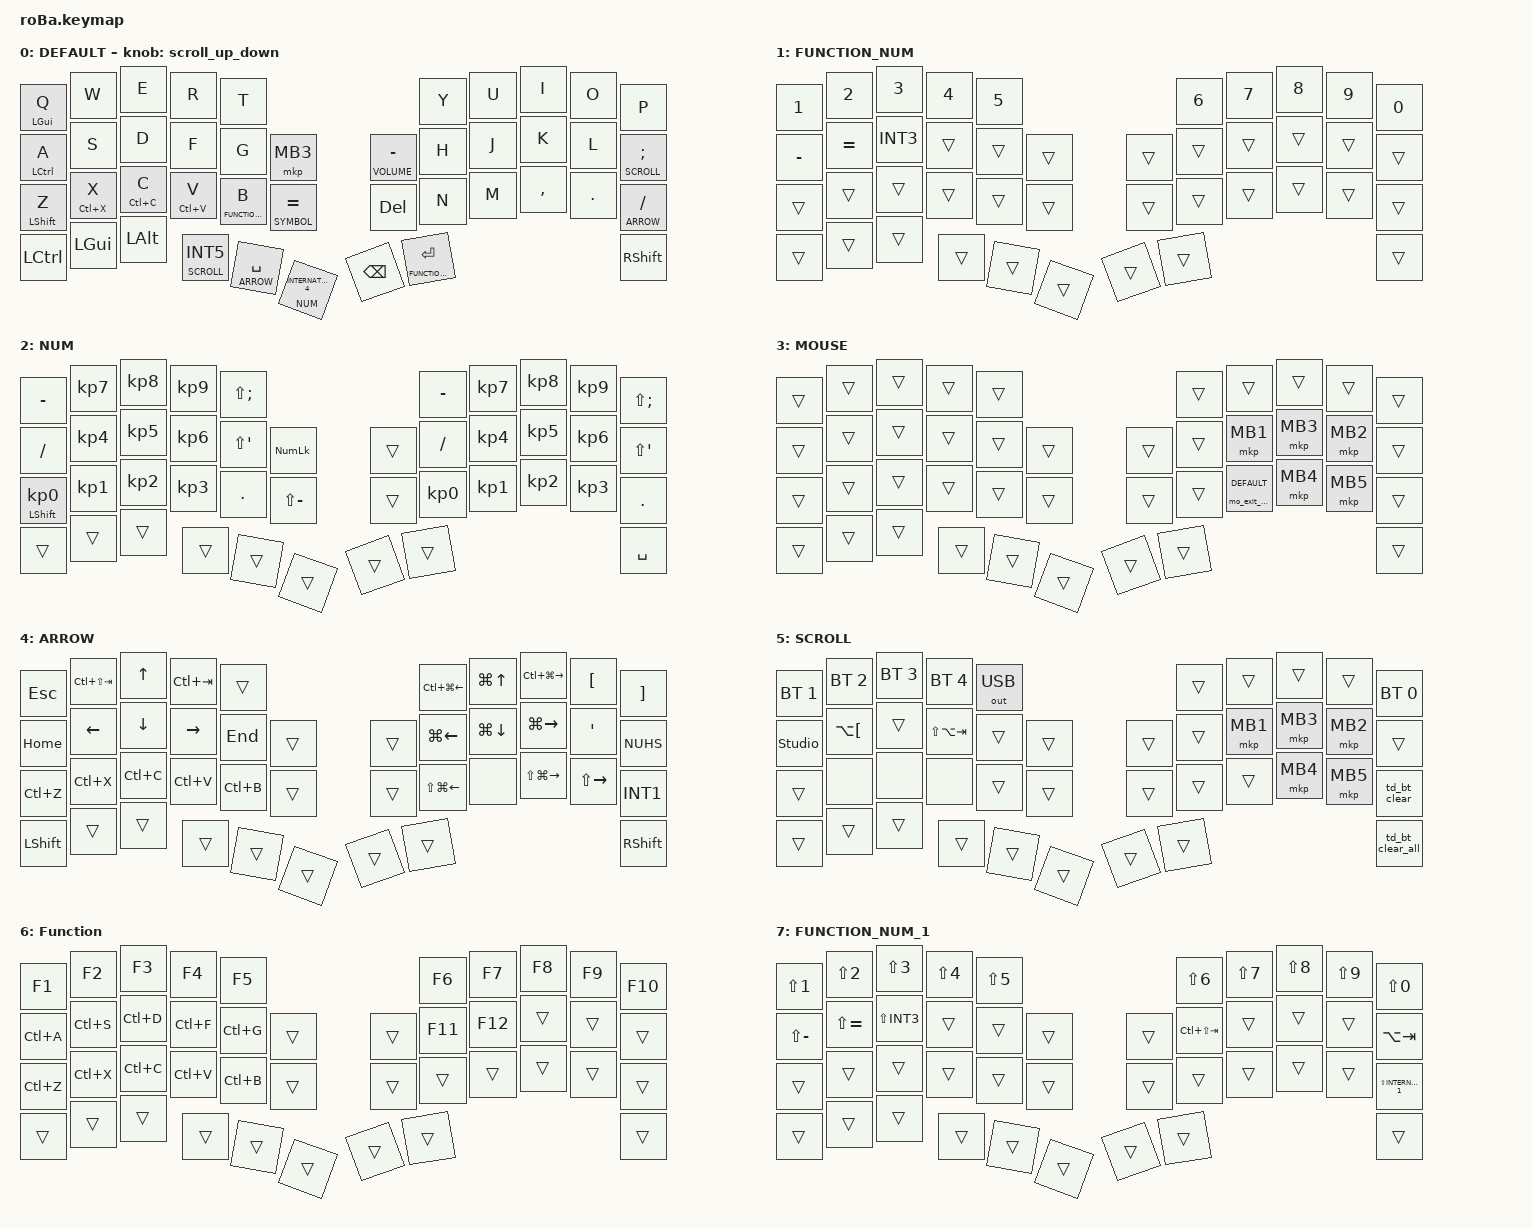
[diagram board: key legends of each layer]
#define ZMK_POINTING_DEFAULT_SCRL_VAL 100
//#define ZMK_POINTING_DEFAULT_MOVE_VAL 700

#include <input/processors.dtsi>
#include <dt-bindings/zmk/input_transform.h>
#include <zephyr/dt-bindings/input/input-event-codes.h>
#include <input/processors/report_rate_limit.dtsi>
#include <mouse-gesture.dtsi>
#include <scroll-snap.dtsi>
#include <dt-bindings/zmk/trackball_gestures.h>
#include <behaviors/gesture.dtsi>
#include <behaviors/runtime_macro.dtsi>
#include <behaviors/runtime-input-processor.dtsi>
#include <behaviors.dtsi>
#include <dt-bindings/zmk/bt.h>
#include <dt-bindings/zmk/keys.h>
#include <dt-bindings/zmk/outputs.h>
#include <dt-bindings/zmk/pointing.h>

// =========================================================
// Layer indices (keymap 内の並び順と一致させること)
// 注意: これらは cpp マクロなので、ノード名には同名を使わない
//       (数字に置換されてしまう)。ノード名は小文字 + display-name。
// =========================================================
#define DEFAULT      0  // home_layer
#define FUNCTION_NUM 1  // 数字 1-0 / trackball: ctrl-tab
#define NUM          2  // テンキー / trackball: arrows
#define MOUSE        3  // マウスボタン (auto mouse layer)
#define ARROW        4  // 矢印・ウィンドウ操作 / trackball: arrows
#define SCROLL       5  // BT 切替・マウスボタン / trackball: scroll
#define VOLUME       6  // keymap 上の node 名は function (F1-F12) / trackball: volume
#define SYMBOL       7  // keymap 上の node 名は function_num_1 (Shift+数字) / trackball: alt-tab

// =========================================================
// Key positions
// =========================================================
#define POS_L_0_START 0                     // Q
#define POS_L_1_START 10                    // A
#define POS_L_2_START 22                    // Z
#define POS_L_3_START 34                    // left ctrl
#define POS_R_0_START (POS_L_0_START + 5)   // Y
#define POS_R_1_START (POS_L_1_START + 6)   // Fn
#define POS_R_2_START (POS_L_2_START + 6)   // DEL
#define POS_R_3_START (POS_L_3_START + 6)   // BACKSPACE
#define POS_L_0_END (POS_R_0_START - 1)     // T
#define POS_L_1_END (POS_R_1_START - 1)     // encoder click
#define POS_L_2_END (POS_R_2_START - 1)     // maru
#define POS_L_3_END (POS_R_3_START - 1)     // henkan
#define POS_R_0_END (POS_L_1_START - 1)     // P
#define POS_R_1_END (POS_L_2_START - 1)     // ;(lt SCROLL)
#define POS_R_2_END (POS_L_3_START - 1)     // /(lt ARROW)
#define POS_R_3_END (POS_L_3_START + 8)     // RIGHT SHIFT

// =========================================================
// Behavior tuning
// =========================================================
&mt {
    tapping-term-ms = <150>;
    quick-tap-ms = <250>;
    flavor = "balanced";
};

&lt {
    tapping-term-ms = <150>;
    quick-tap-ms = <250>;
    flavor = "balanced";
};

&sk { release-after-ms = <700>; };

&sl { release-after-ms = <1000>; };

&to { /delete-property/ locking; };

&tog { /delete-property/ locking; };

// =========================================================
// Trackball / Auto mouse layer
// =========================================================
&mkp_input_listener { input-processors = <&zip_temp_layer MOUSE 10000>; };

&trackball { cpi = <800>; };

&zip_temp_layer {
    require-prior-idle-ms = <200>;
    excluded-positions = <
        (POS_R_1_START + 2) // J
        (POS_R_1_START + 3) // K
        (POS_R_1_START + 4) // L
        (POS_R_1_START + 5) // ;
        (POS_R_2_START + 3) // ,
        (POS_R_2_START + 4) // .
        (POS_L_2_START)     // Z
    >;
};

&zip_scroll_snap {
    require-n-samples = <8>;
    immediate-snap-threshold = <750>;
    lock-duration-ms = <175>;
    lock-for-next-n-events = <8>;
    idle-reset-timeout-ms = <175>;
};

&trackball_listener {
    compatible = "zmk,input-listener";
    input-processors = <
        &zip_xy_transform (INPUT_TRANSFORM_XY_SWAP | INPUT_TRANSFORM_X_INVERT)
        &zip_report_rate_limit 15
        &mouse_runtime_input_processor
    >;

    auto-mouse-layer {
        layers = <DEFAULT>;
        input-processors = <&zip_temp_layer MOUSE 10000>;
        process-next;
    };

    mouse-layer {
        layers = <MOUSE>;
        process-next;
    };

    scroller {
        layers = <SCROLL>;
        input-processors = <
            &zip_xy_scaler 1 16
            &zip_xy_transform (INPUT_TRANSFORM_XY_SWAP | INPUT_TRANSFORM_X_INVERT | INPUT_TRANSFORM_Y_INVERT)
            &zip_xy_to_scroll_mapper
            &zip_scroll_snap
            // &scroll_runtime_input_processor
        >;

        process-next;
    };

    arrows {
        input-processors = <&zip_arrows>;
        layers = <ARROW>, <NUM>;

        process-next;
    };

    volume {
        input-processors = <&zip_volume>;
        layers = <VOLUME>;
        process-next;
    };

    ctrl_tab {
        input-processors = <&zip_ctrl_tab>;
        layers = <FUNCTION_NUM>;
        process-next;
    };

    alt_tab {
        input-processors = <&zip_alt_tab>;
        layers = <SYMBOL>;
        process-next;
    };

    prevent-mouse-move {
        layers = <NUM>, <ARROW>, <VOLUME>, <SYMBOL>, <FUNCTION_NUM>;
        input-processors = <&zip_xy_scaler 0 1>;
    };
};

/ {
    // =====================================================
    // Input processors
    // =====================================================
    input_processors {
        wheel_x_scaler: wheel_x_scaler {
            compatible = "zmk,input-processor-scaler";
            #input-processor-cells = <2>;
            type = <INPUT_EV_REL>;
            codes = <INPUT_REL_HWHEEL>;
        };

        zip_arrows: zip_arrows {
            compatible = "zmk,input-processor-keybind";
            #input-processor-cells = <0>;
            bindings = <&kp DOWN>, <&kp UP>, <&kp RIGHT>, <&kp LEFT>;
            track-remainders;
            tick = <40>;
            wait-ms = <0>;
            tap-ms = <10>;
        };

        zip_volume: zip_volume {
            compatible = "zmk,input-processor-keybind";
            #input-processor-cells = <0>;
            bindings = <&none>, <&none>, <&kp C_VOLUME_UP>, <&kp C_VOLUME_DOWN>;
            track-remainders;
            tick = <40>;
            wait-ms = <0>;
            tap-ms = <10>;
        };

        zip_alt_tab: zip_alt_tab {
            compatible = "zmk,input-processor-keybind";
            #input-processor-cells = <0>;
            bindings = <
                &kp DOWN
                &kp UP
                &alttab
                &altshifttab
            >;

            tick = <80>;
            wait-ms = <0>;
            tap-ms = <10>;
        };

        zip_ctrl_tab: zip_ctrl_tab {
            compatible = "zmk,input-processor-keybind";
            #input-processor-cells = <0>;
            bindings = <
                &none
                &none
                &ctrltab
                &ctrlshifttab
            >;

            tick = <80>;
            wait-ms = <0>;
            tap-ms = <10>;
        };
    };

    // =====================================================
    // Combos (key-positions は home_layer 基準)
    // =====================================================
    combos {
        compatible = "zmk,combos";

        tab {                       // S + D
            bindings = <&kp TAB>;
            key-positions = <11 12>;
        };

        shift_tab {                 // D + F
            bindings = <&kp LS(TAB)>;
            key-positions = <12 13>;
        };

        zenkaku {                   // A + S
            bindings = <&td_ZenkakuHankaku>;
            key-positions = <10 11>;
        };

        double_quotation {          // L + ;
            bindings = <&kp DOUBLE_QUOTES>;
            key-positions = <20 21>;
        };

        eq {                        // X + C
            bindings = <&kp LS(MINUS)>;
            key-positions = <24 25>;
        };

        shift_middle_click {        // K + L (SYMBOL layer)
            bindings = <&mkp_with_mod LEFT_SHIFT MCLK>;
            key-positions = <19 20>;
            layers = <SYMBOL>;
        };

        Escape {                    // Q + W
            bindings = <&kp ESCAPE>;
            key-positions = <0 1>;
            layers = <DEFAULT>;
            require-prior-idle-ms = <300>;
        };

        caps_word {                 // Z + /
            bindings = <&caps_word>;
            key-positions = <22 33>;
            layers = <DEFAULT>;
            require-prior-idle-ms = <300>;
        };

        dot_slash_backslash {       // / + .
            bindings = <&kp BACKSLASH>;
            key-positions = <33 32>;
            layers = <DEFAULT>;
        };

        Ctrl_A {                    // A + S
            bindings = <&kp LC(A)>;
            key-positions = <10 11>;
            layers = <DEFAULT>;
            require-prior-idle-ms = <300>;
        };

        Ctrl_Z {                    // X + Z
            bindings = <&kp LC(Z)>;
            key-positions = <23 22>;
            layers = <DEFAULT>;
            require-prior-idle-ms = <300>;
        };
    };

    // =====================================================
    // Macros
    // =====================================================
    macros {
        // --- Auto mouse layer (AML) を抜ける系 ---
        /omit-if-no-ref/
        exit_AML: exit_AML {
            compatible = "zmk,behavior-macro";
            wait-ms = <0>;
            tap-ms = <0>;
            #binding-cells = <0>;
            bindings = <&tog_off MOUSE>;
        };

        kp_exit_AML: kp_exit_AML {
            compatible = "zmk,behavior-macro-one-param";
            wait-ms = <0>;
            tap-ms = <0>;
            #binding-cells = <1>;
            bindings = <&macro_param_1to1 &kp MACRO_PLACEHOLDER &exit_AML>;
        };

        mod_exit_AML: mod_exit_AML {
            compatible = "zmk,behavior-macro-one-param";
            wait-ms = <0>;
            tap-ms = <0>;
            #binding-cells = <1>;
            bindings =
                <&macro_press>,
                <&macro_param_1to1 &kp MACRO_PLACEHOLDER>,
                <&macro_tap>,
                <&exit_AML>,
                <&macro_pause_for_release>,
                <&macro_release>,
                <&macro_param_1to1 &kp MACRO_PLACEHOLDER>;
        };

        /omit-if-no-ref/
        mkp_exit_AML: mkp_exit_AML {
            compatible = "zmk,behavior-macro-one-param";
            #binding-cells = <1>;
            bindings =
                <&macro_press>,
                <&macro_param_1to1 &mkp MACRO_PLACEHOLDER>,
                <&macro_pause_for_release>,
                <&macro_release>,
                <&macro_param_1to1 &mkp MACRO_PLACEHOLDER>,
                <&macro_tap>,
                <&sl SYMBOL>;
        };

        /omit-if-no-ref/
        mo_exit_AML: mo_exit_AML {
            compatible = "zmk,behavior-macro-one-param";
            wait-ms = <0>;
            tap-ms = <0>;
            #binding-cells = <1>;
            bindings =
                <&macro_press>,
                <&macro_param_1to1 &mo MACRO_PLACEHOLDER>,
                <&macro_tap>,
                <&exit_AML>,
                <&macro_pause_for_release>,
                <&macro_release>,
                <&macro_param_1to1 &mo MACRO_PLACEHOLDER>,
                <&macro_tap>;
        };

        // --- alt-tab / ctrl-tab ---
        /omit-if-no-ref/
        alttab: alttab {
            compatible = "zmk,behavior-smart-toggle";
            #binding-cells = <0>;
            bindings = <&mokp SYMBOL LALT>, <&kp TAB>;

            ignored-key-positions = <
                (POS_L_1_START)
                (POS_R_1_END)

                (POS_L_1_START + 2)
                (POS_L_2_START + 1)
                (POS_L_2_START + 2)
                (POS_L_2_START + 3)

                (POS_R_1_START + 3)
                (POS_R_2_START + 2)
                (POS_R_2_START + 3)
                (POS_R_2_START + 4)
            >;
        };

        altshifttab: altshifttab {
            compatible = "zmk,behavior-smart-toggle";
            #binding-cells = <0>;
            bindings = <&mokp SYMBOL LALT>, <&kp LS(TAB)>;
        };

        /omit-if-no-ref/
        ctrltab: ctrltab {
            compatible = "zmk,behavior-smart-toggle";
            #binding-cells = <0>;
            bindings = <&mokp  FUNCTION_NUM LCTRL>, <&kp TAB>;

            ignored-key-positions = <
                (POS_L_0_START)
                (POS_L_2_START)
                (POS_R_0_END)
                (POS_R_2_END)

                (POS_L_1_START + 2)
                (POS_L_2_START + 1)
                (POS_L_2_START + 2)
                (POS_L_2_START + 3)

                (POS_R_1_START + 3)
                (POS_R_2_START + 2)
                (POS_R_2_START + 3)
                (POS_R_2_START + 4)
            >;
        };

        ctrlshifttab: ctrlshifttab {
            compatible = "zmk,behavior-smart-toggle";
            #binding-cells = <0>;
            bindings = <&mokp  FUNCTION_NUM LCTRL>, <&kp LS(TAB)>;
        };

        // --- 汎用マクロ ---
        /omit-if-no-ref/
        mokp: mokp {
            compatible = "zmk,behavior-macro-two-param";
            wait-ms = <0>;
            tap-ms = <0>;
            #binding-cells = <2>;
            bindings =
                <&macro_press>,
                <&macro_param_1to1 &mo MACRO_PLACEHOLDER &macro_param_2to1 &kp MACRO_PLACEHOLDER>,
                <&macro_pause_for_release>,
                <&macro_release>,
                <&macro_param_1to1 &mo MACRO_PLACEHOLDER &macro_param_2to1 &kp MACRO_PLACEHOLDER>;
        };

        /omit-if-no-ref/
        kp_to: kp_to {
            compatible = "zmk,behavior-macro-two-param";
            wait-ms = <0>;
            tap-ms = <0>;
            #binding-cells = <2>;
            bindings = <&macro_param_1to1 &kp MACRO_PLACEHOLDER &macro_param_2to1 &to MACRO_PLACEHOLDER>;
        };

        /omit-if-no-ref/
        to_kp: to_kp {
            compatible = "zmk,behavior-macro-two-param";
            #binding-cells = <2>;
            bindings = <&macro_param_1to1 &to MACRO_PLACEHOLDER &macro_param_2to1 &kp MACRO_PLACEHOLDER>;
        };

        /omit-if-no-ref/
        zoom_in: zoom_in {
            compatible = "zmk,behavior-macro";
            #binding-cells = <0>;
            bindings = <&kt_on LCTRL &msc SCRL_UP &kt_off LCTRL>;
        };

        /omit-if-no-ref/
        zoom_out: zoom_out {
            compatible = "zmk,behavior-macro";
            #binding-cells = <0>;
            bindings = <&kt_on LCTRL &msc SCRL_DOWN &kt_off LCTRL>;
        };

        /omit-if-no-ref/
        etd: eager_tap_dance {
            compatible = "zmk,behavior-macro-two-param";
            #binding-cells = <2>;
            bindings =
                <&macro_press>,
                <&macro_param_1to1 &kp MACRO_PLACEHOLDER>,
                <&macro_pause_for_release>,
                <&macro_release>,
                <&macro_param_1to1 &kp MACRO_PLACEHOLDER>,
                <&macro_tap>,
                <&exit_AML &macro_param_2to1 &sl_250 MACRO_PLACEHOLDER>;
        };

        scroll_up_down: scroll_up_down {
            compatible = "zmk,behavior-sensor-rotate";
            #sensor-binding-cells = <0>;
            bindings = <&msc SCRL_UP>, <&msc SCRL_DOWN>;

            tap-ms = <20>;
        };
    };

    // =====================================================
    // Behaviors
    // =====================================================
    behaviors {
        // --- toggle ---
        /omit-if-no-ref/
        tog_on: toggle_layer_on {
            compatible = "zmk,behavior-toggle-layer";
            #binding-cells = <1>;
            display-name = "Toggle Layer On";
            toggle-mode = "on";
        };

        /omit-if-no-ref/
        tog_off: toggle_layer_off {
            compatible = "zmk,behavior-toggle-layer";
            #binding-cells = <1>;
            display-name = "Toggle Layer Off";
            toggle-mode = "off";
        };

        /omit-if-no-ref/
        kt_on: key_toggle_on_only {
            compatible = "zmk,behavior-key-toggle";
            #binding-cells = <1>;
            display-name = "Key Toggle On";
            toggle-mode = "on";
        };

        /omit-if-no-ref/
        kt_off: key_toggle_off_only {
            compatible = "zmk,behavior-key-toggle";
            #binding-cells = <1>;
            display-name = "Key Toggle Off";
            toggle-mode = "off";
        };

        // --- tap dance ---
        /omit-if-no-ref/
        td_colon: td_colon {
            compatible = "zmk,behavior-tap-dance";
            #binding-cells = <0>;
            bindings = <&kp COLON>, <&kp SEMICOLON>;

            tapping-term-ms = <250>;
        };

        /omit-if-no-ref/
        td_q_escape: td_q_escape {
            compatible = "zmk,behavior-tap-dance";
            #binding-cells = <0>;
            tapping-term-ms = <250>;
            bindings = <&kp Q>, <&kp ESCAPE>;
        };

        /omit-if-no-ref/
        td_ZenkakuHankaku: td_ZenkakuHankaku {
            compatible = "zmk,behavior-tap-dance";
            // compatible = "zmk,behavior-eager-tap-dance";
            #binding-cells = <0>;
            tapping-term-ms = <250>;
            bindings = <&kp LANGUAGE_2>, <&kp LANGUAGE_1>;
        };

        /omit-if-no-ref/
        td_ZenkakuHankaku_exit_AML: td_ZenkakuHankaku_exit_AML {
            wait-ms = <0>;
            tap-ms = <0>;
            compatible = "zmk,behavior-macro";
            #binding-cells = <0>;
            bindings = <&td_ZenkakuHankaku &exit_AML>;
        };

        /omit-if-no-ref/
        td_alt_f4: td_alt_f4 {
            compatible = "zmk,behavior-tap-dance";
            #binding-cells = <0>;
            bindings = <&kp F4>, <&kp LA(F4)>;

            tapping-term-ms = <250>;
        };

        /omit-if-no-ref/
        td_bt_clear: td_bt_clear {
            compatible = "zmk,behavior-tap-dance";
            #binding-cells = <0>;
            bindings = <&none>, <&none>, <&bt BT_CLR>;

            tapping-term-ms = <250>;
        };

        /omit-if-no-ref/
        td_bt_clear_all: td_bt_clear_all {
            compatible = "zmk,behavior-tap-dance";
            #binding-cells = <0>;
            tapping-term-ms = <250>;
            bindings = <&none>, <&none>, <&bt BT_CLR_ALL>;
        };

        /omit-if-no-ref/
        td_copy_paste: td_copy_paste {
            compatible = "zmk,behavior-tap-dance";
            #binding-cells = <0>;
            bindings = <&kp_exit_AML LC(C)>, <&kp_exit_AML LC(V)>;

            tapping-term-ms = <250>;
        };

        /omit-if-no-ref/
        td_reset: td_reset {
            compatible = "zmk,behavior-tap-dance";
            #binding-cells = <0>;
            bindings = <&none>, <&sys_reset>;

            tapping-term-ms = <300>;
        };

        /omit-if-no-ref/
        td_rclick_close_tab: td_rclick_close_tab {
            compatible = "zmk,behavior-tap-dance";
            #binding-cells = <0>;
            bindings = <&mkp RCLK>, <&kp LC(W)>;

            tapping-term-ms = <250>;
        };

        // --- macro 系 ---
        /omit-if-no-ref/
        alt_tab: alt_tab {
            compatible = "zmk,behavior-macro-two-param";
            #binding-cells = <2>;
            bindings = <&macro_param_1to1 &kt_on MACRO_PLACEHOLDER &macro_param_2to1 &kp MACRO_PLACEHOLDER &macro_param_1to1 &sk MACRO_PLACEHOLDER &macro_param_1to1 &kt_off MACRO_PLACEHOLDER>;
        };

        /omit-if-no-ref/
        windows_sleep: windows_sleep {
            compatible = "zmk,behavior-macro";
            wait-ms = <200>;
            tap-ms = <100>;
            #binding-cells = <0>;
            bindings = <&kp LG(X) &kp U &kp S>;
        };

        /omit-if-no-ref/
        screensot_save: screensot_save {
            compatible = "zmk,behavior-macro";
            #binding-cells = <0>;
            bindings = <&kp LS(F11)>;
            label = "SCREENSOT_SAVE";
        };

        mkp_with_mod: mkp_with_mod {
            compatible = "zmk,behavior-macro-two-param";
            #binding-cells = <2>;
            bindings =
                <&macro_press>,
                <&macro_param_1to1 &kp MACRO_PLACEHOLDER &macro_param_2to1 &mkp MACRO_PLACEHOLDER>,
                <&macro_pause_for_release>,
                <&macro_release>,
                <&macro_param_2to1 &mkp MACRO_PLACEHOLDER &macro_param_1to1 &kp MACRO_PLACEHOLDER>;

            label = "MKP_WITH_MOD";
        };

        // --- mod-morph ---
        /omit-if-no-ref/
        screenshot_copy: screenshot_copy {
            compatible = "zmk,behavior-mod-morph";
            bindings = <&kp LA(PRINTSCREEN)>, <&kp LA(PRINTSCREEN)>;

            #binding-cells = <0>;
            mods = <(MOD_LSFT|MOD_LALT)>;
            keep-mods = <(MOD_LALT)>;
        };

        /omit-if-no-ref/
        mod_morph_exclamation: mod_morph_exclamation {
            compatible = "zmk,behavior-mod-morph";
            bindings = <&kp COMMA>, <&kp EXCL>;

            #binding-cells = <0>;
            mods = <(MOD_LSFT)>;
        };

        /omit-if-no-ref/
        mod_morph_question: mod_morph_question {
            compatible = "zmk,behavior-mod-morph";
            bindings = <&kp PERIOD>, <&kp QUESTION>;

            #binding-cells = <0>;
            mods = <(MOD_LSFT)>;
        };

        /omit-if-no-ref/
        mod_morph_slash: mod_morph_slash {
            compatible = "zmk,behavior-mod-morph";
            bindings = <&kp SLASH>, <&kp BACKSLASH>;

            #binding-cells = <0>;
            mods = <(MOD_LSFT)>;
        };

        // --- hold-tap ---
        /omit-if-no-ref/
        lt_exit_AML: lt_exit_AML {
            compatible = "zmk,behavior-hold-tap";
            bindings = <&mo_exit_AML>, <&kp_exit_AML>;

            #binding-cells = <2>;
            tapping-term-ms = <200>;
            quick-tap-ms = <200>;
            flavor = "balanced";
        };

        /omit-if-no-ref/
        lt_exit_AML_on_hold: lt_exit_AML_on_hold {
            compatible = "zmk,behavior-hold-tap";
            bindings = <&mo_exit_AML>, <&kp>;

            #binding-cells = <2>;
            tapping-term-ms = <200>;
            quick-tap-ms = <200>;
            flavor = "balanced";
        };

        /omit-if-no-ref/
        mt_exit_AML: mt_exit_AML {
            compatible = "zmk,behavior-hold-tap";
            bindings = <&mod_exit_AML>, <&kp_exit_AML>;

            #binding-cells = <2>;
            tapping-term-ms = <200>;
            flavor = "balanced";
            quick-tap-ms = <200>;
        };

        /omit-if-no-ref/
        mt_exit_AML_on_tap: mt_exit_AML_on_tap {
            compatible = "zmk,behavior-hold-tap";
            bindings = <&kp>, <&kp_exit_AML>;

            #binding-cells = <2>;
            tapping-term-ms = <200>;
            flavor = "balanced";
            quick-tap-ms = <200>;
        };

        // /omit-if-no-ref/
        lt_zoom_out: lt_zoom_out {
            compatible = "zmk,behavior-hold-tap";
            bindings = <&mo_exit_AML>, <&zoom_out>;

            #binding-cells = <2>;
            tapping-term-ms = <200>;
            quick-tap-ms = <200>;
            flavor = "balanced";
        };

        /omit-if-no-ref/
        reset_bootloader: reset_bootloader {
            compatible = "zmk,behavior-hold-tap";
            #binding-cells = <2>;
            bindings = <&bootloader>, <&td_reset>;

            tapping-term-ms = <500>;
            flavor = "balanced";
        };

        // --- sticky / encoder ---
        /omit-if-no-ref/
        sl_250: sl_250 {
            compatible = "zmk,behavior-sticky-key";
            bindings = <&mo>;
            #binding-cells = <1>;
            release-after-ms = <250>;
        };

        /omit-if-no-ref/
        encoder_zoom: encoder_zoom {
            compatible = "zmk,behavior-sensor-rotate";
            #sensor-binding-cells = <0>;
            bindings = <&zoom_out>, <&zoom_in>;
        };

        /omit-if-no-ref/
        encoder_volume: encoder_volume {
            compatible = "zmk,behavior-sensor-rotate";
            #sensor-binding-cells = <0>;
            bindings = <&kp C_VOLUME_DOWN>, <&kp C_VOLUME_UP>;
        };
    };

    // =====================================================
    // Keymap
    // =====================================================
    keymap {
        compatible = "zmk,keymap";

        home_layer {
            display-name = "DEFAULT";
            bindings = <
&mt LGUI Q                        &kp W         &kp E         &kp R        &kp T                                                  &kp Y        &kp U  &kp I      &kp O    &kp P
&mt LCTRL A                       &kp S         &kp D         &kp F        &kp G                &mkp MB3  &lt VOLUME MINUS         &kp H        &kp J  &kp K      &kp L    &lt SCROLL SEMICOLON
// 2026-10-28 検証A/B: Z タップでのクラッシュ切り分け
//   現象: Z を単打するとキーボードが再起動(R 側 LED リセット)
//   Z だけが mt_exit_AML_on_tap(=kp_exit_AML マクロ→exit_AML マクロの二重ネスト)
//   経由のため、まず X/C/V と同じ &mt に差し替えて比較する。
//   クラッシュ消滅 → マクロネストが犯人。戻す場合は exit_AML フラット化を検討。
&mt LEFT_SHIFT Z                   &mt LC(X) X   &mt LC(C) C   &mt LC(V) V  &lt FUNCTION_NUM B   &lt SYMBOL EQUAL  &kp DEL          &kp N        &kp M  &kp COMMA  &kp DOT  &lt ARROW SLASH
&kp LCTRL                         &kp LGUI      &kp LEFT_ALT  &lt SCROLL INT5  &lt ARROW SPACE  &lt NUM INTERNATIONAL_4  &kp BACKSPACE  &lt FUNCTION_NUM ENTER           &kp RIGHT_SHIFT
            >;

            sensor-bindings = <&scroll_up_down>;
        };

        function_num {
            display-name = "FUNCTION_NUM";
            bindings = <
&kp NUMBER_1  &kp NUMBER_2  &kp NUMBER_3  &kp NUMBER_4  &kp N5                      &kp NUMBER_6  &kp NUMBER_7  &kp NUMBER_8  &kp NUMBER_9  &kp N0
&kp MINUS     &kp EQUAL     &kp INT3      &trans        &trans  &trans      &trans  &trans        &trans        &trans        &trans        &trans
&trans        &trans        &trans        &trans        &trans  &trans      &trans  &trans        &trans        &trans        &trans        &trans
&trans        &trans        &trans        &trans        &trans  &trans      &trans  &trans                                                  &trans
            >;
        };

        num {
            display-name = "NUM";
            bindings = <
&kp MINUS                   &kp KP_NUMBER_7  &kp KP_NUMBER_8  &kp KP_NUMBER_9  &kp LS(SEMI)                              &kp MINUS        &kp KP_NUMBER_7  &kp KP_NUMBER_8  &kp KP_NUMBER_9  &kp LS(SEMI)
&kp SLASH                   &kp KP_NUMBER_4  &kp KP_NUMBER_5  &kp KP_NUMBER_6  &kp LS(SQT)   &kp KP_NUMLOCK      &trans  &kp SLASH        &kp KP_NUMBER_4  &kp KP_N5        &kp KP_NUMBER_6  &kp LS(SQT)
&mt LEFT_SHIFT KP_NUMBER_0  &kp KP_NUMBER_1  &kp KP_NUMBER_2  &kp KP_NUMBER_3  &kp PERIOD    &kp LS(MINUS)       &trans  &kp KP_NUMBER_0  &kp KP_NUMBER_1  &kp KP_NUMBER_2  &kp KP_NUMBER_3  &kp PERIOD
&trans                      &trans           &trans           &trans           &trans        &trans              &trans  &trans                                                              &kp SPACE
            >;
        };

        mouse {
            display-name = "MOUSE";
            bindings = <
&trans  &trans  &trans  &trans  &trans                      &trans  &trans                  &trans    &trans    &trans
&trans  &trans  &trans  &trans  &trans  &trans      &trans  &trans  &mkp MB1                &mkp MB3  &mkp MB2  &trans
&trans  &trans  &trans  &trans  &trans  &trans      &trans  &trans  &mo_exit_AML DEFAULT   &mkp MB4  &mkp MB5  &trans
&trans  &trans  &trans  &trans  &trans  &trans      &trans  &trans                                              &trans
            >;
        };

        arrow {
            display-name = "ARROW";
            bindings = <
&kp ESCAPE      &kp LC(LS(TAB))  &kp UP_ARROW    &kp LC(TAB)      &trans                         &kp LC(LG(LEFT_ARROW))  &kp LG(UP_ARROW)    &kp LC(LG(RIGHT_ARROW))  &kp LEFT_BRACKET     &kp RIGHT_BRACKET
&kp HOME        &kp LEFT_ARROW   &kp DOWN_ARROW  &kp RIGHT_ARROW  &kp END    &trans      &trans  &kp LG(LEFT_ARROW)      &kp LG(DOWN_ARROW)  &kp LG(RIGHT_ARROW)      &kp SQT              &kp NUHS
&kp LC(Z)       &kp LC(X)        &kp LC(C)       &kp LC(V)        &kp LC(B)  &trans      &trans  &kp LS(LG(LEFT_ARROW))  &none               &kp LS(LG(RIGHT_ARROW))  &kp LS(RIGHT_ARROW)  &kp INT1
&kp LEFT_SHIFT  &trans           &trans          &trans           &trans     &trans      &trans  &trans                                                                                    &kp RIGHT_SHIFT
            >;
        };

        scroll {
            display-name = "SCROLL";
            bindings = <
&bt BT_SEL 1    &bt BT_SEL 2          &bt BT_SEL 3  &bt BT_SEL 4     &out OUT_USB                &trans  &trans    &trans    &trans    &bt BT_SEL 0
&studio_unlock  &kp LA(LEFT_BRACKET)  &trans        &kp LS(LA(TAB))  &trans  &trans      &trans  &trans  &mkp MB1  &mkp MB3  &mkp MB2  &trans
&trans          &none                 &none         &none            &trans  &trans      &trans  &trans  &trans    &mkp MB4  &mkp MB5  &td_bt_clear
&trans          &trans                &trans        &trans           &trans  &trans      &trans  &trans                                &td_bt_clear_all
            >;
        };

        // layer index 6 (VOLUME)
        function {
            display-name = "Function";
            bindings = <
&kp F1     &kp F2     &kp F3     &kp F4     &kp F5                         &kp F6   &kp F7   &kp F8  &kp F9  &kp F10
&kp LC(A)  &kp LC(S)  &kp LC(D)  &kp LC(F)  &kp LC(G)  &trans      &trans  &kp F11  &kp F12  &trans  &trans  &trans
&kp LC(Z)  &kp LC(X)  &kp LC(C)  &kp LC(V)  &kp LC(B)  &trans      &trans  &trans   &trans   &trans  &trans  &trans
&trans     &trans     &trans     &trans     &trans     &trans      &trans  &trans                            &trans
            >;
        };

        // layer index 7 (SYMBOL)
        function_num_1 {
            display-name = "FUNCTION_NUM_1";
            bindings = <
&kp LS(NUMBER_1)  &kp LS(NUMBER_2)  &kp LS(NUMBER_3)  &kp LS(NUMBER_4)  &kp LS(N5)                      &kp LS(NUMBER_6)  &kp LS(NUMBER_7)  &kp LS(NUMBER_8)  &kp LS(NUMBER_9)  &kp LS(N0)
&kp LS(MINUS)     &kp LS(EQUAL)     &kp LS(INT3)      &trans            &trans      &trans      &trans  &kp LC(LS(TAB))   &trans            &trans            &trans            &kp LA(TAB)
&trans            &trans            &trans            &trans            &trans      &trans      &trans  &trans            &trans            &trans            &trans            &kp LS(INTERNATIONAL_1)
&trans            &trans            &trans            &trans            &trans      &trans      &trans  &trans                                                                  &trans
            >;
        };
    };
};
